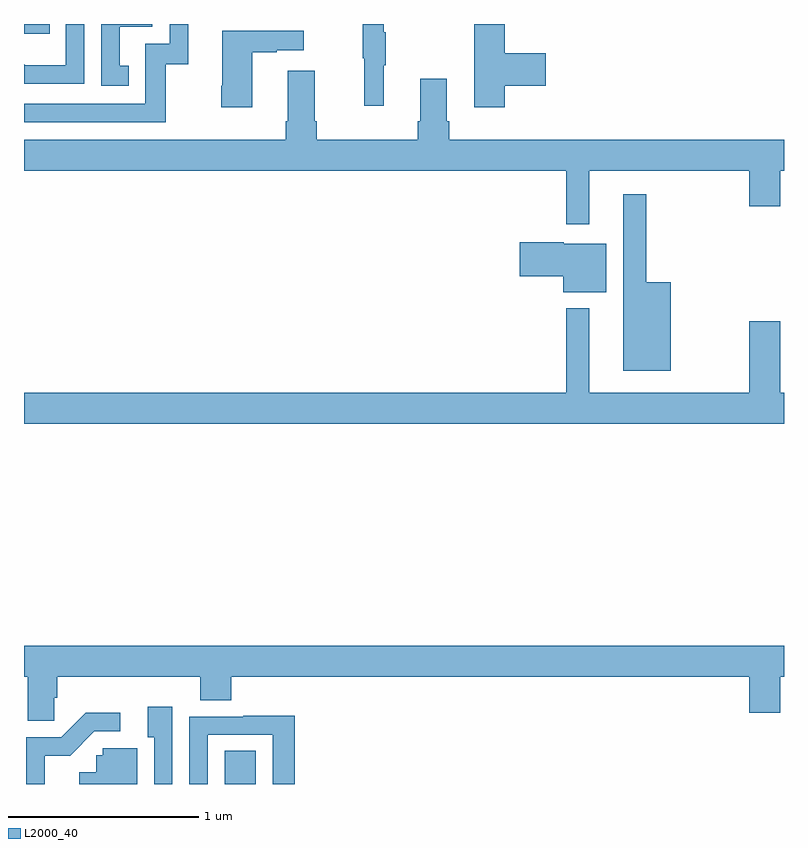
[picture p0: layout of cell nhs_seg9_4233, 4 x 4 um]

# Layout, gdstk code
import gdstk
lib = gdstk.Library(unit=1e-6, precision=1e-09)
def R(c, l, rs):  # rectangles x0, y0, x1, y1
    for r in rs: c.add(gdstk.rectangle(r[:2], r[2:], *l))
def P(c, l, *ps):  # polygons
    for p in ps: c.add(gdstk.Polygon(p, *l))
L2000_40 = (2000, 40)

nhs_seg9_4233 = lib.new_cell('nhs_seg9_4233')
R(nhs_seg9_4233, L2000_40, [(354.056,1218.5,354.22,1218.674), (353,1222.449,353.135,1222.5)])
P(nhs_seg9_4233, L2000_40, [(353.746,1222.287),(353.864,1222.287),(353.864,1222.5),(353.766,1222.5),(353.766,1222.395),(353.637,1222.395),(353.637,1222.08),(353,1222.08),(353,1221.984),(353.746,1221.984)],
  [(355.529,1222.175),(355.747,1222.175),(355.747,1222.346),(355.529,1222.346),(355.529,1222.5),(355.37,1222.5),(355.37,1222.062),(355.529,1222.062)],
  [(354.893,1222.283),(354.904,1222.283),(354.904,1222.457),(354.893,1222.457),(354.893,1222.5),(354.783,1222.5),(354.783,1222.32),(354.79,1222.32),(354.79,1222.071),(354.893,1222.071)],
  [(353.316,1222.5),(353.22,1222.5),(353.22,1222.282),(353.006,1222.282),(353,1222.288),(353,1222.185),(353.316,1222.185)],
  [(353.552,1222.281),(353.503,1222.281),(353.503,1222.485),(353.676,1222.485),(353.676,1222.5),(353.406,1222.5),(353.406,1222.176),(353.552,1222.176)],
  [(354.202,1222.351),(354.329,1222.351),(354.329,1222.361),(354.472,1222.361),(354.472,1222.465),(354.044,1222.465),(354.044,1222.174),(354.037,1222.174),(354.037,1222.062),(354.202,1222.062)],
  [(355.854,1221.447),(355.975,1221.447),(355.975,1221.728),(356.816,1221.728),(356.816,1221.54),(356.98,1221.54),(356.98,1221.728),(357,1221.728),(357,1221.892),(355.238,1221.892),(355.238,1221.988),(355.225,1221.988),(355.225,1222.213),(355.085,1222.213),(355.085,1221.988),(355.073,1221.988),(355.073,1221.892),(354.542,1221.892),(354.542,1221.988),(354.529,1221.988),(354.529,1222.255),(354.389,1222.255),(354.389,1221.988),(354.377,1221.988),(354.377,1221.892),(353,1221.892),(353,1221.728),(355.854,1221.728)],
  [(356.404,1221.142),(356.275,1221.142),(356.275,1221.604),(356.153,1221.604),(356.153,1220.675),(356.404,1220.675)],
  [(356.065,1221.343),(355.842,1221.343),(355.842,1221.351),(355.608,1221.351),(355.608,1221.173),(355.838,1221.173),(355.838,1221.089),(356.065,1221.089)],
  [(357,1220.56),(356.98,1220.56),(356.98,1220.935),(356.816,1220.935),(356.816,1220.56),(355.975,1220.56),(355.975,1221.004),(355.854,1221.004),(355.854,1220.56),(353,1220.56),(353,1220.396),(357,1220.396)],
  [(353.159,1218.954),(353.174,1218.954),(353.174,1219.064),(353.927,1219.064),(353.927,1218.94),(354.092,1218.94),(354.092,1219.064),(356.816,1219.064),(356.816,1218.876),(356.98,1218.876),(356.98,1219.064),(357,1219.064),(357,1219.228),(353,1219.228),(353,1219.064),(353.021,1219.064),(353.021,1218.832),(353.159,1218.832)],
  [(353.781,1218.907),(353.651,1218.907),(353.651,1218.746),(353.685,1218.746),(353.685,1218.5),(353.781,1218.5)],
  [(353.11,1218.65),(353.243,1218.65),(353.37,1218.777),(353.506,1218.777),(353.506,1218.875),(353.324,1218.875),(353.196,1218.747),(353.013,1218.747),(353.013,1218.5),(353.11,1218.5)],
  [(353.967,1218.759),(354.309,1218.759),(354.309,1218.5),(354.425,1218.5),(354.425,1218.859),(354.155,1218.859),(354.155,1218.855),(353.871,1218.855),(353.871,1218.5),(353.967,1218.5)],
  [(353.596,1218.687),(353.415,1218.687),(353.415,1218.651),(353.379,1218.651),(353.379,1218.562),(353.292,1218.562),(353.292,1218.5),(353.596,1218.5)])

lib.write_gds('nhs_seg9_4233.gds')
